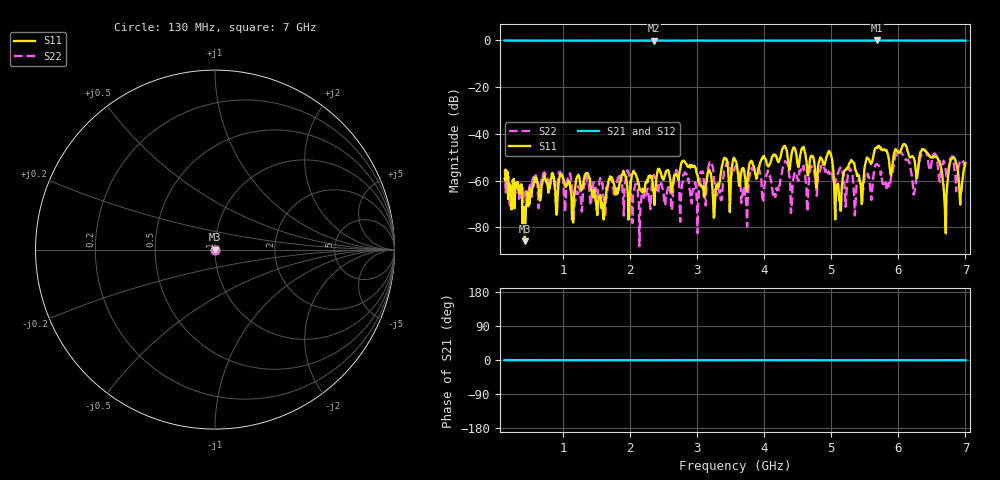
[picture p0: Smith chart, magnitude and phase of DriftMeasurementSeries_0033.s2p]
# Hz S RI R 50.000000
! Metas.Vna.Tools, 2.8.8664.20301
! Metas.Vna.Data, 2.8.8664.20285
! Created: UTC 2024.02.11 10:08:16
! FREQ  re:S1,1  im:S1,1  re:S2,1  im:S2,1  re:S1,2  im:S1,2  re:S2,2  im:S2,2
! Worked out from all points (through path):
!   801 points, 130 MHz to 7 GHz, reference 50 ohm
!   highest |S21| = -0.01 dB at 5.686 GHz (marker M1); lowest = -0.1 dB at 2.354 GHz (marker M2)
!   lowest |S11| = -85.9 dB at 430.6 MHz (marker M3), VSWR 1.00, Z = 50 + j0.00141 ohm
!   |S11| at or under -10 dB: start of sweep to end of sweep
!   |S22| runs from -88.1 to -46.7 dB; largest |S21 - S12| = 0.014
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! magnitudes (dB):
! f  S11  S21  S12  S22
! 130 MHz  -59.2  -0.1  0.0  -56.4
! 430.6 MHz  -85.9  -0.1  0.0  -65.1
! 593.7 MHz  -59.4  -0.1  0.0  -57.7
! 1.281 GHz  -63.4  -0.1  0.0  -73.3
! 2.354 GHz  -65.3  -0.1  0.0  -57.6
! 2.423 GHz  -54.9  -0.1  0.0  -65.0
! 3.264 GHz  -70.6  -0.1  0.0  -61.2
! 3.565 GHz  -50.9  -0.1  0.0  -54.2
! 3.728 GHz  -63.4  -0.1  0.0  -68.5
! 3.831 GHz  -53.2  0.0  0.0  -55.3
! 4.716 GHz  -49.3  -0.1  0.0  -54.1
! 4.973 GHz  -47.6  -0.1  0.0  -57.2
! 5.119 GHz  -68.6  -0.1  0.0  -55.6
! 5.368 GHz  -55.9  -0.1  0.0  -65.7
! 5.686 GHz  -46.1  0.0  0.0  -53.3
! 5.858 GHz  -50.7  -0.1  0.0  -61.0
! 6.004 GHz  -48.1  0.0  0.0  -47.4
! 6.236 GHz  -50.9  -0.1  0.0  -65.4
! 6.562 GHz  -49.9  -0.1  0.0  -49.2
! 6.699 GHz  -76.0  -0.1  0.0  -54.0
! 6.794 GHz  -50.7  -0.1  0.0  -50.4
! 7 GHz  -52.5  -0.1  0.0  -53.8
